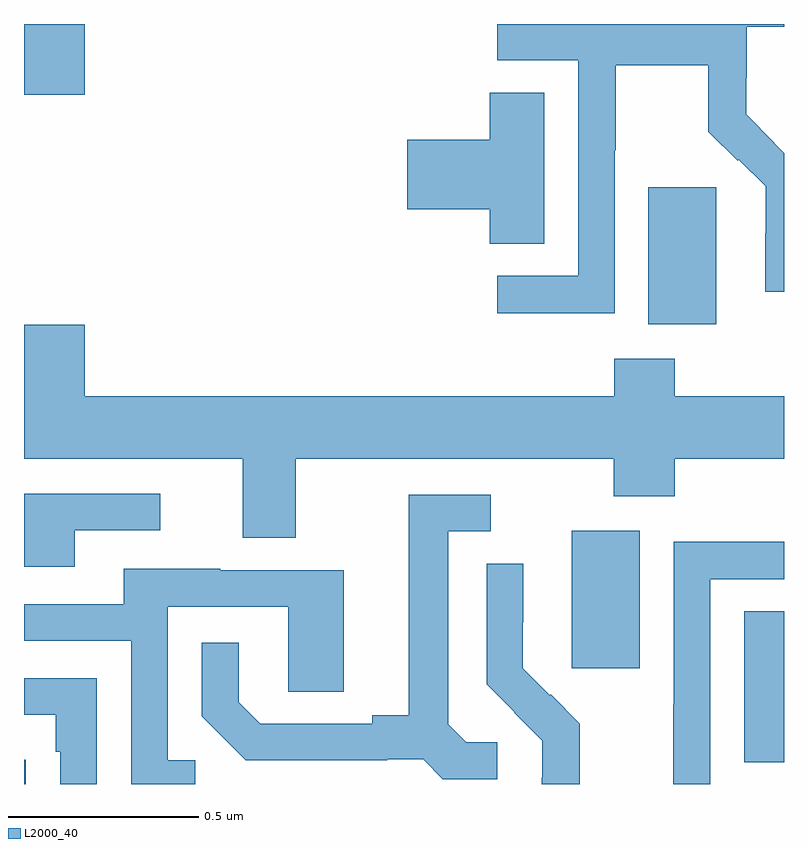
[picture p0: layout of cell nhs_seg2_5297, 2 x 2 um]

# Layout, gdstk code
import gdstk
lib = gdstk.Library(unit=1e-6, precision=1e-09)
def R(c, l, rs):  # rectangles x0, y0, x1, y1
    for r in rs: c.add(gdstk.rectangle(r[:2], r[2:], *l))
def P(c, l, *ps):  # polygons
    for p in ps: c.add(gdstk.Polygon(p, *l))
L2000_40 = (2000, 40)

nhs_seg2_5297 = lib.new_cell('nhs_seg2_5297')
R(nhs_seg2_5297, L2000_40, [(177,626.8,177.005,626.864), (178.895,626.857,179,627.254), (178.442,627.105,178.621,627.466), (178.643,628.01,178.822,628.371), (177,628.614,177.16,628.8)])
P(nhs_seg2_5297, L2000_40, [(178.554,628.468),(178.557,628.468),(178.557,628.692),(178.801,628.692),(178.801,628.517),(178.878,628.44),(178.881,628.443),(178.952,628.373),(178.952,628.25),(178.95,628.25),(178.95,628.096),(179,628.096),(179,628.46),(178.973,628.487),(178.974,628.488),(178.9,628.562),(178.9,628.659),(178.902,628.659),(178.902,628.793),(179,628.793),(179,628.8),(178.245,628.8),(178.245,628.704),(178.458,628.704),(178.458,628.137),(178.245,628.137),(178.245,628.039),(178.554,628.039)],
  [(178.369,628.619),(178.226,628.619),(178.226,628.496),(178.008,628.496),(178.008,628.313),(178.226,628.313),(178.226,628.222),(178.369,628.222)],
  [(177.715,627.656),(178.552,627.656),(178.552,627.557),(178.712,627.557),(178.712,627.656),(179,627.656),(179,627.82),(178.713,627.82),(178.713,627.919),(178.553,627.919),(178.553,627.82),(177.16,627.82),(177.16,628.009),(177,628.009),(177,627.656),(177.575,627.656),(177.575,627.448),(177.715,627.448)],
  [(177.133,627.468),(177.358,627.468),(177.358,627.564),(177,627.564),(177,627.372),(177.133,627.372)],
  [(178.246,626.91),(178.164,626.91),(178.117,626.957),(178.117,627.465),(178.228,627.465),(178.228,627.561),(178.013,627.561),(178.013,626.981),(177.917,626.981),(177.917,626.958),(177.622,626.958),(177.565,627.015),(177.565,627.172),(177.468,627.172),(177.468,626.978),(177.584,626.862),(177.956,626.862),(177.956,626.865),(178.05,626.865),(178.102,626.813),(178.246,626.813)],
  [(178.806,627.339),(179,627.339),(179,627.438),(178.71,627.438),(178.71,627.008),(178.708,627.008),(178.708,626.8),(178.806,626.8)],
  [(178.463,626.959),(178.386,627.036),(178.383,627.033),(178.313,627.104),(178.313,627.226),(178.314,627.226),(178.314,627.38),(178.218,627.38),(178.218,627.062),(178.291,626.989),(178.29,626.988),(178.364,626.914),(178.364,626.817),(178.362,626.817),(178.362,626.8),(178.463,626.8)],
  [(177.451,626.862),(177.378,626.862),(177.378,627.267),(177.696,627.267),(177.696,627.043),(177.841,627.043),(177.841,627.363),(177.517,627.363),(177.517,627.367),(177.263,627.367),(177.263,627.273),(177,627.273),(177,627.177),(177.282,627.177),(177.282,626.8),(177.451,626.8)],
  [(177.192,627.078),(177,627.078),(177,626.982),(177.083,626.982),(177.083,626.885),(177.096,626.885),(177.096,626.8),(177.192,626.8)])

lib.write_gds('nhs_seg2_5297.gds')
